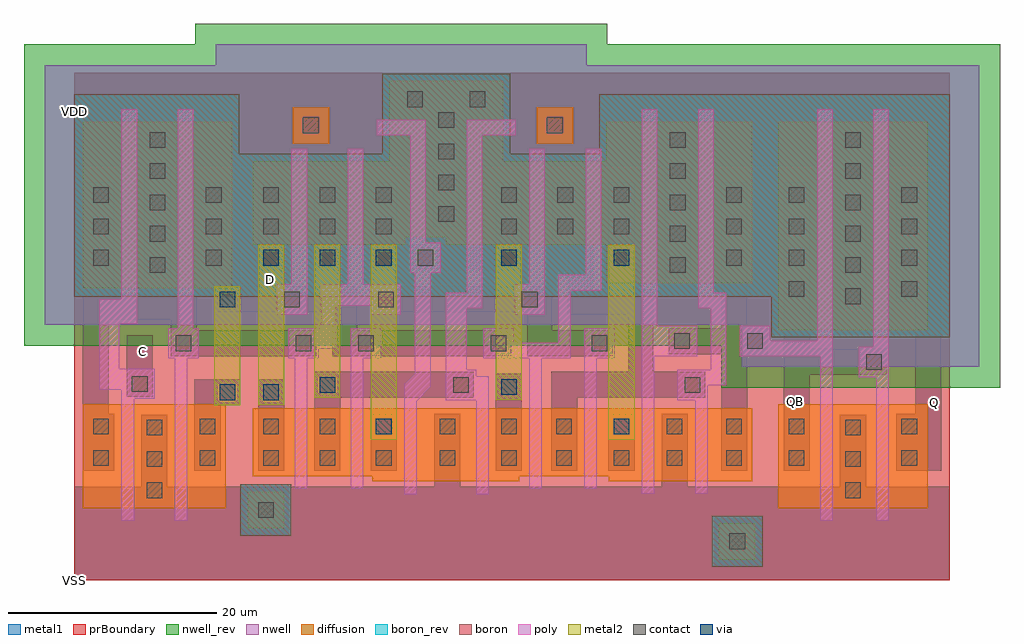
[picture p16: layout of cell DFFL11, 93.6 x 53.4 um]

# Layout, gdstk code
import gdstk
lib = gdstk.Library(unit=1e-6, precision=1e-09)
def R(c, l, rs):  # rectangles x0, y0, x1, y1
    for r in rs: c.add(gdstk.rectangle(r[:2], r[2:], *l))
def A(c, l, x, y, w, h, nx, ny, dx, dy):  # array of equal rectangles
    R(c, l, [(x+i*dx, y+j*dy, x+i*dx+w, y+j*dy+h) for i in range(nx) for j in range(ny)])
def P(c, l, *ps):  # polygons
    for p in ps: c.add(gdstk.Polygon(p, *l))
nwell = (1, 0)
diffusion = (2, 0)
nwell_rev = (3, 0)
poly = (4, 0)
boron = (5, 0)
boron_rev = (6, 0)
contact = (7, 0)
metal1 = (8, 0)
via = (9, 0)
metal2 = (10, 0)
prBoundary = (28, 0)

dffl11 = lib.new_cell('DFFL11')
P(dffl11, nwell, [(64.05,20.5),(64.05,24.5),(-2.8,24.5),(-2.8,49.4),(13.6,49.4),(13.6,51.4),(49.15,51.4),(49.15,49.4),(86.8,49.4),(86.8,20.5)])
R(dffl11, diffusion, [(61.85,2,65.35,5.5), (16.65,5,20.15,8.5), (0.85,6.9,14.55,16.9), (67.55,6.9,81.85,16.9), (67.55,24,81.85,44), (0.85,28,15.15,44), (20.95,41.9,24.45,45.4), (44.35,41.9,47.85,45.4)])
P(dffl11, diffusion, [(51.05,28.5),(51.05,32.2),(35.65,32.2),(35.65,32.9),(31.75,32.9),(31.75,32.2),(17.15,32.2),(17.15,40.2),(30.25,40.2),(30.25,47.9),(41.15,47.9),(41.15,40.2),(51.05,40.2),(51.05,44),(65.05,44),(65.05,28.5)],
  [(28.6,9.5),(28.6,10),(17.15,10),(17.15,16.5),(65.05,16.5),(65.05,9.5),(51.3,9.5),(51.3,10),(42.7,10),(42.7,9.5)])
P(dffl11, nwell_rev, [(62.05,18.5),(62.05,22.5),(-4.8,22.5),(-4.8,51.4),(11.6,51.4),(11.6,53.4),(51.15,53.4),(51.15,51.4),(88.8,51.4),(88.8,18.5)])
P(dffl11, poly, [(71.55,5.7),(71.55,21.5),(63.85,21.5),(63.85,24.4),(66.75,24.4),(66.75,23),(71.25,23),(71.25,45.2),(72.75,45.2),(72.75,5.7)],
  [(38.55,8.25),(38.55,17.3),(35.65,17.3),(35.65,27.6),(37.65,27.6),(37.65,44.2),(42.35,44.2),(42.35,42.7),(39.15,42.7),(39.15,26.1),(37.65,26.1),(37.65,20.2),(38.55,20.2),(38.55,19.6),(39.75,19.6),(39.75,8.25)],
  [(31.65,8.25),(31.65,18.85),(31.7,18.85),(32.65,19.8),(32.65,29.5),(32.25,29.5),(32.25,42.7),(29.05,42.7),(29.05,44.2),(33.75,44.2),(33.75,32.4),(35.15,32.4),(35.15,29.5),(34.2,29.5),(34.2,18.55),(32.85,17.2),(32.85,8.25)],
  [(4.55,5.7),(4.55,18.3),(2.4,18.3),(2.4,26.95),(4.55,26.95),(4.55,45.2),(6.05,45.2),(6.05,24.6),(4.35,24.6),(4.35,20.3),(7.75,20.3),(7.75,17.4),(5.75,17.4),(5.75,5.7)],
  [(9.65,5.7),(9.65,21.3),(9.05,21.3),(9.05,24.2),(9.95,24.2),(9.95,45.2),(11.45,45.2),(11.45,24.2),(11.95,24.2),(11.95,21.3),(10.85,21.3),(10.85,5.7)],
  [(19.45,25.5),(19.45,28.4),(20.85,28.4),(20.85,41.4),(22.35,41.4),(22.35,25.5)],
  [(26.55,8.8),(26.55,24.2),(29.45,24.2),(29.45,21.3),(27.75,21.3),(27.75,8.8)],
  [(21.15,8.8),(21.15,21.3),(20.55,21.3),(20.55,24.2),(23.65,24.2),(23.65,28.4),(26.25,28.4),(26.25,41.4),(27.75,41.4),(27.75,28.4),(31.35,28.4),(31.35,25.5),(28.45,25.5),(28.45,26.35),(25.15,26.35),(25.15,22.2),(23.45,22.2),(23.45,21.3),(22.35,21.3),(22.35,8.8)],
  [(42.25,25.5),(42.25,28.4),(43.65,28.4),(43.65,41.4),(45.15,41.4),(45.15,25.5)],
  [(43.65,8.8),(43.65,21.3),(39.25,21.3),(39.25,24.2),(42.15,24.2),(42.15,22.8),(46.45,22.8),(46.45,29.3),(49.05,29.3),(49.05,41.4),(50.55,41.4),(50.55,27.8),(47.65,27.8),(47.65,21.3),(44.85,21.3),(44.85,8.8)],
  [(48.95,8.8),(48.95,24.2),(51.85,24.2),(51.85,21.3),(50.15,21.3),(50.15,8.8)],
  [(54.45,8.3),(54.45,45.2),(55.95,45.2),(55.95,24.4),(59.75,24.4),(59.75,21.5),(55.65,21.5),(55.65,8.3)],
  [(59.55,8.3),(59.55,17.3),(57.85,17.3),(57.85,20.2),(61.05,20.2),(61.05,26.1),(59.85,26.1),(59.85,45.2),(61.35,45.2),(61.35,27.6),(62.55,27.6),(62.55,18.7),(60.75,18.7),(60.75,8.3)],
  [(76.95,5.7),(76.95,19.5),(75.25,19.5),(75.25,22.4),(76.65,22.4),(76.65,45.2),(78.15,45.2),(78.15,5.7)])
R(dffl11, boron, [(61.15,1.3,66.05,6.2), (15.95,4.3,20.85,9.2)])
P(dffl11, boron, [(66.85,23.3),(66.85,27.2),(0,27.2),(0,46.6),(15.85,46.6),(15.85,40.9),(29.55,40.9),(29.55,48.6),(41.85,48.6),(41.85,40.9),(50.35,40.9),(50.35,46.6),(84,46.6),(84,23.3)])
R(dffl11, boron_rev, [(61.15,1.3,66.05,6.2), (15.95,4.3,20.85,9.2)])
P(dffl11, boron_rev, [(66.85,23.3),(66.85,27.2),(0,27.2),(0,46.6),(15.85,46.6),(15.85,40.9),(29.55,40.9),(29.55,48.6),(41.85,48.6),(41.85,40.9),(50.35,40.9),(50.35,46.6),(84,46.6),(84,23.3)])
A(dffl11, contact, 6.95, 7.9, 1.5, 1.5, 1, 3, 0, 3)
A(dffl11, contact, 73.95, 7.9, 1.5, 1.5, 1, 3, 0, 3)
A(dffl11, contact, 18.15, 11, 1.5, 1.5, 3, 2, 5.4, 22.2)
A(dffl11, contact, 73.95, 26.5, 1.5, 1.5, 1, 6, 0, 3)
A(dffl11, contact, 68.55, 27.2, 1.5, 1.5, 1, 4, 0, 3)
A(dffl11, contact, 79.35, 27.2, 1.5, 1.5, 1, 4, 0, 3)
A(dffl11, contact, 7.25, 29.5, 1.5, 1.5, 1, 5, 0, 3)
A(dffl11, contact, 57.15, 29.5, 1.5, 1.5, 1, 5, 0, 3)
A(dffl11, contact, 1.85, 30.2, 1.5, 1.5, 1, 3, 0, 3)
A(dffl11, contact, 12.65, 30.2, 1.5, 1.5, 1, 3, 0, 3)
A(dffl11, contact, 62.55, 30.2, 1.5, 1.5, 1, 3, 0, 3)
A(dffl11, contact, 40.95, 33.2, 1.5, 1.5, 3, 2, 5.4, 3)
A(dffl11, contact, 34.95, 34.4, 1.5, 1.5, 1, 4, 0, 3)
A(dffl11, contact, 18.15, 36.2, 1.5, 1.5, 3, 1, 5.4, 0)
R(dffl11, contact, [(62.85,3,64.35,4.5), (17.65,6,19.15,7.5), (1.85,11,3.35,12.5), (12.05,11,13.55,12.5), (35.05,11,36.55,12.5), (40.95,11,42.45,12.5), (46.25,11,47.75,12.5), (51.75,11,53.25,12.5), (56.85,11,58.35,12.5), (62.55,11,64.05,12.5), (68.55,11,70.05,12.5), (79.35,11,80.85,12.5), (1.85,14,3.35,15.5), (12.05,14,13.55,15.5), (18.15,14,19.65,15.5), (23.55,14,25.05,15.5), (35.05,14,36.55,15.5), (40.95,14,42.45,15.5), (46.25,14,47.75,15.5), (56.85,14,58.35,15.5), (62.55,14,64.05,15.5), (68.55,14,70.05,15.5), (79.35,14,80.85,15.5), (36.35,18,37.85,19.5), (58.55,18,60.05,19.5), (5.55,18.1,7.05,19.6), (75.95,20.2,77.45,21.7), (9.75,22,11.25,23.5), (21.25,22,22.75,23.5), (27.25,22,28.75,23.5), (39.95,22,41.45,23.5), (49.65,22,51.15,23.5), (57.55,22.2,59.05,23.7), (64.55,22.2,66.05,23.7), (20.15,26.2,21.65,27.7), (29.15,26.2,30.65,27.7), (42.95,26.2,44.45,27.7), (32.95,30.2,34.45,31.7), (21.95,42.9,23.45,44.4), (45.35,42.9,46.85,44.4), (31.95,45.4,33.45,46.9), (37.95,45.4,39.45,46.9)])
A(dffl11, metal1, 17.65, 29.7, 2.5, 8.5, 3, 1, 5.4, 0)
R(dffl11, metal1, [(0,0,84,9), (17.65,10.5,20.15,19.3), (28.45,10.5,30.95,16), (40.45,10.5,42.95,19.8), (51.25,10.5,53.75,16), (80.65,16.8,83.15,19.3), (5.05,17.6,7.55,23.5), (13.45,25.7,15.95,28.2), (12.15,29.7,14.65,32.2), (51.25,29.7,53.75,38.2), (0,39.7,84,48.7)])
P(dffl11, metal1, [(73.45,26),(73.45,39.7),(59.15,39.7),(59.15,29),(56.65,29),(56.65,39.7),(36.95,39.7),(36.95,33.9),(34.45,33.9),(34.45,39.7),(9.25,39.7),(9.25,29),(6.75,29),(6.75,39.7),(0,39.7),(0,48.7),(84,48.7),(84,39.7),(75.95,39.7),(75.95,26)],
  [(11.55,10.5),(11.55,19.3),(15.95,19.3),(15.95,16.8),(14.05,16.8),(14.05,10.5)],
  [(0.85,10.5),(0.85,38.2),(3.85,38.2),(3.85,27.5),(11.75,27.5),(11.75,24),(23.25,24),(23.25,21.5),(9.25,21.5),(9.25,25),(3.35,25),(3.35,16),(3.85,16),(3.85,10.5)],
  [(23.05,10.5),(23.05,20),(38.35,20),(38.35,17.5),(25.55,17.5),(25.55,10.5)],
  [(24.75,21.5),(24.75,25.7),(13.45,25.7),(13.45,29.7),(12.15,29.7),(12.15,38.2),(14.65,38.2),(14.65,31.9),(15.95,31.9),(15.95,28.2),(27.15,28.2),(27.15,24),(41.95,24),(41.95,21.5)],
  [(32.45,29.7),(32.45,32.2),(40.45,32.2),(40.45,38.2),(42.95,38.2),(42.95,29.7)],
  [(43.45,21.5),(43.45,25.7),(28.65,25.7),(28.65,28.2),(45.85,28.2),(45.85,24),(51.65,24),(51.65,21.5)],
  [(45.75,10.5),(45.75,20),(53.15,20),(53.15,25.5),(47.35,25.5),(47.35,32.7),(45.85,32.7),(45.85,38.2),(49.75,38.2),(49.75,27.9),(55.55,27.9),(55.55,20),(60.55,20),(60.55,17.5),(48.25,17.5),(48.25,10.5)],
  [(62.05,10.5),(62.05,21.7),(57.05,21.7),(57.05,24.2),(62.05,24.2),(62.05,38.2),(64.55,38.2),(64.55,24.2),(66.55,24.2),(66.55,21.7),(64.55,21.7),(64.55,10.5)],
  [(68.05,10.5),(68.05,38.2),(70.55,38.2),(70.55,22.2),(77.95,22.2),(77.95,19.7),(70.55,19.7),(70.55,10.5)],
  [(78.85,10.5),(78.85,16),(80.65,16),(80.65,26.7),(78.85,26.7),(78.85,38.2),(83.15,38.2),(83.15,10.5)],
  [(0,0),(0,9),(6.45,9),(6.45,15.9),(8.95,15.9),(8.95,9),(34.55,9),(34.55,16),(37.05,16),(37.05,9),(56.35,9),(56.35,16),(58.85,16),(58.85,9),(73.45,9),(73.45,15.9),(75.95,15.9),(75.95,9),(84,9),(84,0)])
A(dffl11, via, 18.15, 30.2, 1.5, 1.5, 3, 1, 5.4, 0)
R(dffl11, via, [(28.95,14,30.45,15.5), (51.75,14,53.25,15.5), (13.95,17.3,15.45,18.8), (18.15,17.3,19.65,18.8), (40.95,17.8,42.45,19.3), (23.55,18,25.05,19.5), (13.95,26.2,15.45,27.7), (40.95,30.2,42.45,31.7), (51.75,30.2,53.25,31.7)])
R(dffl11, metal2, [(28.45,13.5,30.95,32.2), (51.25,13.5,53.75,32.2), (13.45,16.8,15.95,28.2), (17.65,16.8,20.15,32.2), (40.45,17.3,42.95,32.2), (23.05,17.5,25.55,32.2)])
R(dffl11, prBoundary, [(0,0,84,48.7)])
dffl11.add(gdstk.Label('VSS', (0.001,0.001), layer=8, texttype=7))
dffl11.add(gdstk.Label('VDD', (0.002,45), layer=8, texttype=7))
dffl11.add(gdstk.Label('QB', (69.15,17.15), layer=8, texttype=7))
dffl11.add(gdstk.Label('C', (6.55,22), layer=8, texttype=7))
dffl11.add(gdstk.Label('Q', (82.5,17.05), layer=8, texttype=7))
dffl11.add(gdstk.Label('D', (18.855,28.865), layer=10, texttype=7))

lib.write_gds('DFFL11.gds')
